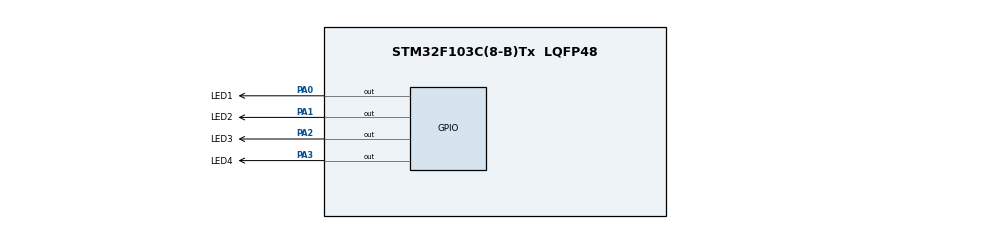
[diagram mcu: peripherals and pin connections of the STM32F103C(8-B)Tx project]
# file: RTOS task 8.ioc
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FREERTOS.BinarySemaphores01=CriticalResourceSemaphore,Dynamic,NULL,Available
FREERTOS.Tasks01=defaultTask,0,128,StartDefaultTask,Default,NULL,Dynamic,NULL,NULL;GreenLEDTask,0,128,green_led,Default,NULL,Dynamic,NULL,NULL;RedLEDTask,0,128,red_led,Default,NULL,Dynamic,NULL,NULL;YellowLEDTask,1,128,yellow_led,Default,NULL,Dynamic,NULL,NULL
Mcu.Family=STM32F1
Mcu.Name=STM32F103C(8-B)Tx
Mcu.Package=LQFP48
NVIC.PriorityGroup=NVIC_PRIORITYGROUP_4
PA0-WKUP.GPIO_Label=LED1
PA0-WKUP.Signal=GPIO_Output
PA1.GPIO_Label=LED2
PA1.Signal=GPIO_Output
PA13.Mode=Serial_Wire
PA13.Signal=SYS_JTMS-SWDIO
PA14.Mode=Serial_Wire
PA14.Signal=SYS_JTCK-SWCLK
PA2.GPIO_Label=LED3
PA2.Signal=GPIO_Output
PA3.GPIO_Label=LED4
PA3.Signal=GPIO_Output
ProjectManager.HeapSize=0x200
ProjectManager.StackSize=0x400
ProjectManager.TargetToolchain=STM32CubeIDE
RCC.APB1Freq_Value=8000000
RCC.APB2Freq_Value=8000000
VP_FREERTOS_VS_CMSIS_V1.Mode=CMSIS_V1
board=custom

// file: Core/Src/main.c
/* USER CODE BEGIN Header */
/**
  ******************************************************************************
  * @file           : main.c
  * @brief          : Main program body
  ******************************************************************************
  * @attention
  *
  * Copyright (c) 2024 STMicroelectronics.
  * All rights reserved.
  *
  * This software is licensed under terms that can be found in the LICENSE file
  * in the root directory of this software component.
  * If no LICENSE file comes with this software, it is provided AS-IS.
  *
  ******************************************************************************
  */
/* USER CODE END Header */
#include "main.h"
#include "cmsis_os.h"

/* USER CODE BEGIN Includes */
#include <stdio.h>
/* USER CODE END Includes */

osThreadId defaultTaskHandle;
osThreadId GreenLEDTaskHandle;
osThreadId RedLEDTaskHandle;
osThreadId YellowLEDTaskHandle;
osSemaphoreId CriticalResourceSemaphoreHandle;
/* USER CODE BEGIN PV */
volatile uint8_t startFlag = 1;
volatile uint16_t WaitTimeMilliseconds = 1000;
/* USER CODE END PV */

void SystemClock_Config(void);
static void MX_GPIO_Init(void);
void StartDefaultTask(void const * argument);
void green_led(void const * argument);
void red_led(void const * argument);
void yellow_led(void const * argument);

int main(void)
{

  /* MCU Configuration--------------------------------------------------------*/

  /* Reset of all peripherals, Initializes the Flash interface and the Systick. */
  HAL_Init();

  /* Configure the system clock */
  SystemClock_Config();

  /* Initialize all configured peripherals */
  MX_GPIO_Init();

  /* Create the semaphores(s) */
  /* definition and creation of CriticalResourceSemaphore */
  osSemaphoreDef(CriticalResourceSemaphore);
  CriticalResourceSemaphoreHandle = osSemaphoreCreate(osSemaphore(CriticalResourceSemaphore), 1);

  /* Create the thread(s) */
  /* definition and creation of defaultTask */
  osThreadDef(defaultTask, StartDefaultTask, osPriorityNormal, 0, 128);
  defaultTaskHandle = osThreadCreate(osThread(defaultTask), NULL);

  /* definition and creation of GreenLEDTask */
  osThreadDef(GreenLEDTask, green_led, osPriorityNormal, 0, 128);
  GreenLEDTaskHandle = osThreadCreate(osThread(GreenLEDTask), NULL);

  /* definition and creation of RedLEDTask */
  osThreadDef(RedLEDTask, red_led, osPriorityNormal, 0, 128);
  RedLEDTaskHandle = osThreadCreate(osThread(RedLEDTask), NULL);

  /* definition and creation of YellowLEDTask */
  osThreadDef(YellowLEDTask, yellow_led, osPriorityAboveNormal, 0, 128);
  YellowLEDTaskHandle = osThreadCreate(osThread(YellowLEDTask), NULL);

  /* Start scheduler */
  osKernelStart();

  /* We should never get here as control is now taken by the scheduler */

  /* Infinite loop */
  while (1)
  {

  }
}

void SystemClock_Config(void)
{
  RCC_OscInitTypeDef RCC_OscInitStruct = {0};
  RCC_ClkInitTypeDef RCC_ClkInitStruct = {0};

  /** Initializes the RCC Oscillators according to the specified parameters
  * in the RCC_OscInitTypeDef structure.
  */
  RCC_OscInitStruct.OscillatorType = RCC_OSCILLATORTYPE_HSI;
  RCC_OscInitStruct.HSIState = RCC_HSI_ON;
  RCC_OscInitStruct.HSICalibrationValue = RCC_HSICALIBRATION_DEFAULT;
  RCC_OscInitStruct.PLL.PLLState = RCC_PLL_NONE;
  if (HAL_RCC_OscConfig(&RCC_OscInitStruct) != HAL_OK)
  {
    Error_Handler();
  }

  /** Initializes the CPU, AHB and APB buses clocks
  */
  RCC_ClkInitStruct.ClockType = RCC_CLOCKTYPE_HCLK|RCC_CLOCKTYPE_SYSCLK
                              |RCC_CLOCKTYPE_PCLK1|RCC_CLOCKTYPE_PCLK2;
  RCC_ClkInitStruct.SYSCLKSource = RCC_SYSCLKSOURCE_HSI;
  RCC_ClkInitStruct.AHBCLKDivider = RCC_SYSCLK_DIV1;
  RCC_ClkInitStruct.APB1CLKDivider = RCC_HCLK_DIV1;
  RCC_ClkInitStruct.APB2CLKDivider = RCC_HCLK_DIV1;

  if (HAL_RCC_ClockConfig(&RCC_ClkInitStruct, FLASH_LATENCY_0) != HAL_OK)
  {
    Error_Handler();
  }
}

static void MX_GPIO_Init(void)
{
  GPIO_InitTypeDef GPIO_InitStruct = {0};

  /* GPIO Ports Clock Enable */
  __HAL_RCC_GPIOA_CLK_ENABLE();

  /*Configure GPIO pin Output Level */
  HAL_GPIO_WritePin(GPIOA, LED1_Pin|LED2_Pin|LED3_Pin|LED4_Pin, GPIO_PIN_RESET);

  /*Configure GPIO pins : LED1_Pin LED2_Pin LED3_Pin LED4_Pin */
  GPIO_InitStruct.Pin = LED1_Pin|LED2_Pin|LED3_Pin|LED4_Pin;
  GPIO_InitStruct.Mode = GPIO_MODE_OUTPUT_PP;
  GPIO_InitStruct.Pull = GPIO_NOPULL;
  GPIO_InitStruct.Speed = GPIO_SPEED_FREQ_LOW;
  HAL_GPIO_Init(GPIOA, &GPIO_InitStruct);

}

/* USER CODE BEGIN 4 */
void accessSharedData(void)
{
    if (startFlag == 1)
    {
        startFlag = 0;  // Set flag ke 0
    }
    else
    {
        // Nyalakan LED Biru jika konflik
        HAL_GPIO_WritePin(GPIOA, GPIO_PIN_3, GPIO_PIN_SET);
    }

    // Simulasi operasi baca/tulis selama 1000 ms
      //SimulateReadWriteOperation();
        HAL_Delay(1000);

    // Set flag kembali ke 1
    startFlag = 1;

    // Matikan LED Biru
    HAL_GPIO_WritePin(GPIOA, GPIO_PIN_3, GPIO_PIN_RESET);
}

void SimulateReadWriteOperation(void) {
    volatile uint32_t delay_count = 0;
    const uint32_t delay_target = 2000000; // Adjust this value to approximate 500 ms

    // Dummy loop to simulate processing time
    for (delay_count = 0; delay_count < delay_target; delay_count++) {
        __asm("nop"); // No Operation: Keeps the processor busy without changing code behavior
    }
}
/* USER CODE END 4 */

void StartDefaultTask(void const * argument)
{
  /* USER CODE BEGIN 5 */
  /* Infinite loop */
	for(;;)
	  {
	    osDelay(1);
	  }
	  /* USER CODE END StartDefaultTask */
  /* USER CODE END 5 */
}

void green_led(void const * argument)
{
  /* USER CODE BEGIN green_led */
  /* Infinite loop */
	for(;;)
	    {
	        HAL_GPIO_WritePin(GPIOA, GPIO_PIN_0, GPIO_PIN_SET);  // Nyalakan Green LED

	        osSemaphoreWait(CriticalResourceSemaphoreHandle,WaitTimeMilliseconds);
	        accessSharedData();
	        osSemaphoreRelease(CriticalResourceSemaphoreHandle);
	        osDelay(200);

	        HAL_GPIO_WritePin(GPIOA, GPIO_PIN_0, GPIO_PIN_RESET);  // Matikan Green LED
	        osDelay(200);
	    }
  /* USER CODE END green_led */
}

void red_led(void const * argument)
{
  /* USER CODE BEGIN red_led */
  /* Infinite loop */
	for(;;)
	    {
	        HAL_GPIO_WritePin(GPIOA, GPIO_PIN_1, GPIO_PIN_SET);  // Nyalakan Red LED

	        osSemaphoreWait(CriticalResourceSemaphoreHandle,WaitTimeMilliseconds);
	        accessSharedData();
	        osSemaphoreRelease(CriticalResourceSemaphoreHandle);
	        osDelay(550);

	        HAL_GPIO_WritePin(GPIOA, GPIO_PIN_1, GPIO_PIN_RESET);  // Matikan Red LED
	        osDelay(550);
	    }
  /* USER CODE END red_led */
}

void yellow_led(void const * argument)
{
  /* USER CODE BEGIN yellow_led */
  /* Infinite loop */
	for(;;)
		    {
		        HAL_GPIO_TogglePin(GPIOA, GPIO_PIN_2);  // Toggle Orange LED
		        osDelay(50);  // 10 Hz flashing rate
		    }
  /* USER CODE END yellow_led */
}

void Error_Handler(void)
{
  __disable_irq();
  while (1)
  {
  }
}
